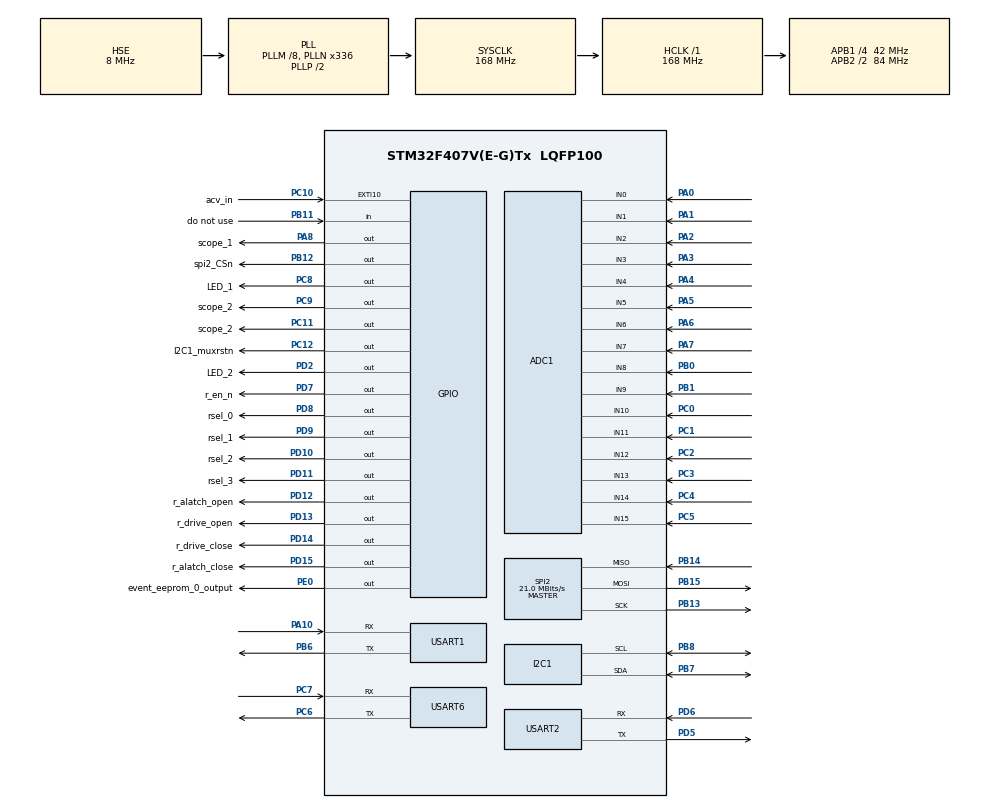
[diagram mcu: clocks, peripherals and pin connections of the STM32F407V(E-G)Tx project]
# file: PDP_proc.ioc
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ADC1.Channel-0\#ChannelRegularConversion=ADC_CHANNEL_0
ADC1.Channel-16\#ChannelRegularConversion=ADC_CHANNEL_0
ADC1.Channel-17\#ChannelRegularConversion=ADC_CHANNEL_0
ADC1.Channel-18\#ChannelRegularConversion=ADC_CHANNEL_0
ADC1.Channel-19\#ChannelRegularConversion=ADC_CHANNEL_0
ADC1.Channel-20\#ChannelRegularConversion=ADC_CHANNEL_0
ADC1.Channel-21\#ChannelRegularConversion=ADC_CHANNEL_0
ADC1.Channel-22\#ChannelRegularConversion=ADC_CHANNEL_0
ADC1.Channel-23\#ChannelRegularConversion=ADC_CHANNEL_0
ADC1.Channel-24\#ChannelRegularConversion=ADC_CHANNEL_0
ADC1.Channel-25\#ChannelRegularConversion=ADC_CHANNEL_0
ADC1.Channel-26\#ChannelRegularConversion=ADC_CHANNEL_0
ADC1.Channel-27\#ChannelRegularConversion=ADC_CHANNEL_0
ADC1.Channel-28\#ChannelRegularConversion=ADC_CHANNEL_0
ADC1.Channel-29\#ChannelRegularConversion=ADC_CHANNEL_0
ADC1.Channel-30\#ChannelRegularConversion=ADC_CHANNEL_0
ADC1.ContinuousConvMode=ENABLE
ADC1.DMAContinuousRequests=ENABLE
ADC1.NbrOfConversion=16
ADC1.NbrOfConversionFlag=1
ADC1.Rank-0\#ChannelRegularConversion=1
ADC1.Rank-16\#ChannelRegularConversion=2
ADC1.Rank-17\#ChannelRegularConversion=3
ADC1.Rank-18\#ChannelRegularConversion=4
ADC1.Rank-19\#ChannelRegularConversion=5
ADC1.Rank-20\#ChannelRegularConversion=6
ADC1.Rank-21\#ChannelRegularConversion=7
ADC1.Rank-22\#ChannelRegularConversion=8
ADC1.Rank-23\#ChannelRegularConversion=9
ADC1.Rank-24\#ChannelRegularConversion=10
ADC1.Rank-25\#ChannelRegularConversion=11
ADC1.Rank-26\#ChannelRegularConversion=12
ADC1.Rank-27\#ChannelRegularConversion=13
ADC1.Rank-28\#ChannelRegularConversion=14
ADC1.Rank-29\#ChannelRegularConversion=15
ADC1.Rank-30\#ChannelRegularConversion=16
ADC1.SamplingTime-0\#ChannelRegularConversion=ADC_SAMPLETIME_15CYCLES
ADC1.SamplingTime-16\#ChannelRegularConversion=ADC_SAMPLETIME_15CYCLES
ADC1.SamplingTime-17\#ChannelRegularConversion=ADC_SAMPLETIME_15CYCLES
ADC1.SamplingTime-18\#ChannelRegularConversion=ADC_SAMPLETIME_15CYCLES
ADC1.SamplingTime-19\#ChannelRegularConversion=ADC_SAMPLETIME_15CYCLES
ADC1.SamplingTime-20\#ChannelRegularConversion=ADC_SAMPLETIME_15CYCLES
ADC1.SamplingTime-21\#ChannelRegularConversion=ADC_SAMPLETIME_15CYCLES
ADC1.SamplingTime-22\#ChannelRegularConversion=ADC_SAMPLETIME_15CYCLES
ADC1.SamplingTime-23\#ChannelRegularConversion=ADC_SAMPLETIME_15CYCLES
ADC1.SamplingTime-24\#ChannelRegularConversion=ADC_SAMPLETIME_15CYCLES
ADC1.SamplingTime-25\#ChannelRegularConversion=ADC_SAMPLETIME_15CYCLES
ADC1.SamplingTime-26\#ChannelRegularConversion=ADC_SAMPLETIME_15CYCLES
ADC1.SamplingTime-27\#ChannelRegularConversion=ADC_SAMPLETIME_15CYCLES
ADC1.SamplingTime-28\#ChannelRegularConversion=ADC_SAMPLETIME_15CYCLES
ADC1.SamplingTime-29\#ChannelRegularConversion=ADC_SAMPLETIME_15CYCLES
ADC1.SamplingTime-30\#ChannelRegularConversion=ADC_SAMPLETIME_15CYCLES
ADC1.ScanConvMode=ENABLE
ADC1.master=1
Dma.ADC1.0.Channel=DMA_CHANNEL_0
Dma.ADC1.0.Direction=DMA_PERIPH_TO_MEMORY
Dma.ADC1.0.FIFOMode=DMA_FIFOMODE_DISABLE
Dma.ADC1.0.FIFOThreshold=DMA_FIFO_THRESHOLD_FULL
Dma.ADC1.0.Instance=DMA2_Stream0
Dma.ADC1.0.MemBurst=DMA_MBURST_SINGLE
Dma.ADC1.0.MemDataAlignment=DMA_MDATAALIGN_HALFWORD
Dma.ADC1.0.MemInc=DMA_MINC_ENABLE
Dma.ADC1.0.Mode=DMA_CIRCULAR
Dma.ADC1.0.PeriphBurst=DMA_PBURST_SINGLE
Dma.ADC1.0.PeriphDataAlignment=DMA_PDATAALIGN_HALFWORD
Dma.ADC1.0.PeriphInc=DMA_PINC_DISABLE
Dma.ADC1.0.Priority=DMA_PRIORITY_LOW
Dma.Request0=ADC1
Mcu.Family=STM32F4
Mcu.Name=STM32F407V(E-G)Tx
Mcu.Package=LQFP100
NVIC.DMA2_Stream0_IRQn=true\:15\:0\:true
NVIC.EXTI15_10_IRQn=true\:1\:0\:true
NVIC.I2C1_ER_IRQn=true\:6\:0\:true
NVIC.I2C1_EV_IRQn=true\:7\:0\:true
NVIC.PriorityGroup=NVIC_PRIORITYGROUP_4
NVIC.TIM1_UP_TIM10_IRQn=true\:14\:0\:true
NVIC.TIM4_IRQn=true\:2\:0\:true
NVIC.USART1_IRQn=true\:5\:0\:true
NVIC.USART2_IRQn=true\:3\:0\:true
NVIC.USART6_IRQn=true\:4\:0\:true
PA0-WKUP.Signal=ADCx_IN0
PA1.Signal=ADCx_IN1
PA10.Mode=Asynchronous
PA10.Signal=USART1_RX
PA13.Mode=JTAG(5-pin)
PA13.Signal=SYS_JTMS-SWDIO
PA14.Mode=JTAG(5-pin)
PA14.Signal=SYS_JTCK-SWCLK
PA15.Mode=JTAG(5-pin)
PA15.Signal=SYS_JTDI
PA2.Signal=ADCx_IN2
PA3.Signal=ADCx_IN3
PA4.Signal=ADCx_IN4
PA5.Signal=ADCx_IN5
PA6.Signal=ADCx_IN6
PA7.Signal=ADCx_IN7
PA8.GPIO_Label=scope_1
PA8.GPIO_ModeDefaultOutputPP=GPIO_MODE_OUTPUT_PP
PA8.GPIO_PuPd=GPIO_NOPULL
PA8.GPIO_Speed=GPIO_SPEED_HIGH
PA8.Signal=GPIO_Output
PB0.Signal=ADCx_IN8
PB1.Signal=ADCx_IN9
PB11.GPIO_Label=do not use
PB11.GPIO_Mode=GPIO_MODE_INPUT
PB11.GPIO_PuPd=GPIO_NOPULL
PB11.Signal=GPIO_Input
PB12.GPIO_Label=spi2_CSn
PB12.GPIO_ModeDefaultOutputPP=GPIO_MODE_OUTPUT_PP
PB12.GPIO_PuPd=GPIO_NOPULL
PB12.GPIO_Speed=GPIO_SPEED_FAST
PB12.Signal=GPIO_Output
PB13.Mode=Full_Duplex_Master
PB13.Signal=SPI2_SCK
PB14.Mode=Full_Duplex_Master
PB14.Signal=SPI2_MISO
PB15.Mode=Full_Duplex_Master
PB15.Signal=SPI2_MOSI
PB3.Mode=JTAG(5-pin)
PB3.Signal=SYS_JTDO-SWO
PB4.Mode=JTAG(5-pin)
PB4.Signal=SYS_JTRST
PB6.Mode=Asynchronous
PB6.Signal=USART1_TX
PB7.Mode=I2C
PB7.Signal=I2C1_SDA
PB8.Mode=I2C
PB8.Signal=I2C1_SCL
PC0.Signal=ADCx_IN10
PC1.Signal=ADCx_IN11
PC10.GPIO_Label=acv_in
PC10.GPIO_ModeDefaultEXTI=GPIO_MODE_IT_RISING
PC10.GPIO_PuPd=GPIO_NOPULL
PC10.Signal=GPXTI10
PC11.GPIO_Label=scope_2
PC11.GPIO_ModeDefaultOutputPP=GPIO_MODE_OUTPUT_PP
PC11.GPIO_PuPd=GPIO_NOPULL
PC11.GPIO_Speed=GPIO_SPEED_HIGH
PC11.Signal=GPIO_Output
PC12.GPIO_Label=I2C1_muxrstn
PC12.GPIO_ModeDefaultOutputPP=GPIO_MODE_OUTPUT_PP
PC12.GPIO_PuPd=GPIO_NOPULL
PC12.GPIO_Speed=GPIO_SPEED_LOW
PC12.Signal=GPIO_Output
PC14-OSC32_IN.Mode=LSE-External-Oscillator
PC14-OSC32_IN.Signal=RCC_OSC32_IN
PC15-OSC32_OUT.Mode=LSE-External-Oscillator
PC15-OSC32_OUT.Signal=RCC_OSC32_OUT
PC2.Signal=ADCx_IN12
PC3.Signal=ADCx_IN13
PC4.Signal=ADCx_IN14
PC5.Signal=ADCx_IN15
PC6.Mode=Asynchronous
PC6.Signal=USART6_TX
PC7.Mode=Asynchronous
PC7.Signal=USART6_RX
PC8.GPIO_Label=LED_1
PC8.GPIO_ModeDefaultOutputPP=GPIO_MODE_OUTPUT_PP
PC8.GPIO_PuPd=GPIO_NOPULL
PC8.GPIO_Speed=GPIO_SPEED_LOW
PC8.Signal=GPIO_Output
PC9.GPIO_Label=scope_2
PC9.GPIO_ModeDefaultOutputPP=GPIO_MODE_OUTPUT_PP
PC9.GPIO_PuPd=GPIO_NOPULL
PC9.GPIO_Speed=GPIO_SPEED_HIGH
PC9.Signal=GPIO_Output
PD10.GPIO_Label=rsel_2
PD10.GPIO_ModeDefaultOutputPP=GPIO_MODE_OUTPUT_PP
PD10.GPIO_PuPd=GPIO_NOPULL
PD10.GPIO_Speed=GPIO_SPEED_LOW
PD10.Signal=GPIO_Output
PD11.GPIO_Label=rsel_3
PD11.GPIO_ModeDefaultOutputPP=GPIO_MODE_OUTPUT_PP
PD11.GPIO_PuPd=GPIO_NOPULL
PD11.GPIO_Speed=GPIO_SPEED_LOW
PD11.Signal=GPIO_Output
PD12.GPIO_Label=r_alatch_open
PD12.GPIO_ModeDefaultOutputPP=GPIO_MODE_OUTPUT_PP
PD12.GPIO_PuPd=GPIO_NOPULL
PD12.GPIO_Speed=GPIO_SPEED_LOW
PD12.Signal=GPIO_Output
PD13.GPIO_Label=r_drive_open
PD13.GPIO_ModeDefaultOutputPP=GPIO_MODE_OUTPUT_PP
PD13.GPIO_PuPd=GPIO_NOPULL
PD13.GPIO_Speed=GPIO_SPEED_LOW
PD13.Signal=GPIO_Output
PD14.GPIO_Label=r_drive_close
PD14.GPIO_ModeDefaultOutputPP=GPIO_MODE_OUTPUT_PP
PD14.GPIO_PuPd=GPIO_NOPULL
PD14.GPIO_Speed=GPIO_SPEED_LOW
PD14.Signal=GPIO_Output
PD15.GPIO_Label=r_alatch_close
PD15.GPIO_ModeDefaultOutputPP=GPIO_MODE_OUTPUT_PP
PD15.GPIO_PuPd=GPIO_NOPULL
PD15.GPIO_Speed=GPIO_SPEED_LOW
PD15.Signal=GPIO_Output
PD2.GPIO_Label=LED_2
PD2.GPIO_ModeDefaultOutputPP=GPIO_MODE_OUTPUT_PP
PD2.GPIO_PuPd=GPIO_NOPULL
PD2.GPIO_Speed=GPIO_SPEED_LOW
PD2.Signal=GPIO_Output
PD5.Mode=Asynchronous
PD5.Signal=USART2_TX
PD6.Mode=Asynchronous
PD6.Signal=USART2_RX
PD7.GPIO_Label=r_en_n
PD7.GPIO_ModeDefaultOutputPP=GPIO_MODE_OUTPUT_PP
PD7.GPIO_PuPd=GPIO_NOPULL
PD7.GPIO_Speed=GPIO_SPEED_LOW
PD7.Signal=GPIO_Output
PD8.GPIO_Label=rsel_0
PD8.GPIO_ModeDefaultOutputPP=GPIO_MODE_OUTPUT_PP
PD8.GPIO_PuPd=GPIO_NOPULL
PD8.GPIO_Speed=GPIO_SPEED_LOW
PD8.Signal=GPIO_Output
PD9.GPIO_Label=rsel_1
PD9.GPIO_ModeDefaultOutputPP=GPIO_MODE_OUTPUT_PP
PD9.GPIO_PuPd=GPIO_NOPULL
PD9.GPIO_Speed=GPIO_SPEED_LOW
PD9.Signal=GPIO_Output
PE0.GPIO_Label=event_eeprom_0_output
PE0.GPIO_ModeDefaultOutputPP=GPIO_MODE_OUTPUT_OD
PE0.GPIO_PuPd=GPIO_NOPULL
PE0.GPIO_Speed=GPIO_SPEED_LOW
PE0.Signal=GPIO_Output
PH0-OSC_IN.GPIO_Label=PH0-OSC_IN
PH0-OSC_IN.Mode=HSE-External-Oscillator
PH0-OSC_IN.Signal=RCC_OSC_IN
PH1-OSC_OUT.GPIO_Label=PH1-OSC_OUT
PH1-OSC_OUT.Mode=HSE-External-Oscillator
PH1-OSC_OUT.Signal=RCC_OSC_OUT
ProjectManager.TargetToolchain=MDK-ARM V4
RCC.48MHZClocksFreq_Value=48000000
RCC.AHBFreq_Value=168000000
RCC.APB1CLKDivider=RCC_HCLK_DIV4
RCC.APB1Freq_Value=42000000
RCC.APB1TimFreq_Value=84000000
RCC.APB2CLKDivider=RCC_HCLK_DIV2
RCC.APB2Freq_Value=84000000
RCC.APB2TimFreq_Value=168000000
RCC.CortexFreq_Value=168000000
RCC.HCLKFreq_Value=168000000
RCC.HSE_VALUE=8000000
RCC.HSI_VALUE=16000000
RCC.PLLM=8
RCC.PLLN=336
RCC.PLLQ=7
RCC.PLLSourceVirtual=RCC_PLLSOURCE_HSE
RCC.SYSCLKFreq_VALUE=168000000
RCC.SYSCLKSource=RCC_SYSCLKSOURCE_PLLCLK
RCC.VCOOutputFreq_Value=336000000
SH.ADCx_IN0.0=ADC1_IN0,IN0
SH.ADCx_IN1.0=ADC1_IN1,IN1
SH.ADCx_IN10.0=ADC1_IN10,IN10
SH.ADCx_IN11.0=ADC1_IN11,IN11
SH.ADCx_IN12.0=ADC1_IN12,IN12
SH.ADCx_IN13.0=ADC1_IN13,IN13
SH.ADCx_IN14.0=ADC1_IN14,IN14
SH.ADCx_IN15.0=ADC1_IN15,IN15
SH.ADCx_IN2.0=ADC1_IN2,IN2
SH.ADCx_IN3.0=ADC1_IN3,IN3
SH.ADCx_IN4.0=ADC1_IN4,IN4
SH.ADCx_IN5.0=ADC1_IN5,IN5
SH.ADCx_IN6.0=ADC1_IN6,IN6
SH.ADCx_IN7.0=ADC1_IN7,IN7
SH.ADCx_IN8.0=ADC1_IN8,IN8
SH.ADCx_IN9.0=ADC1_IN9,IN9
SPI2.CalculateBaudRate=21.0 MBits/s
SPI2.Mode=SPI_MODE_MASTER
TIM1.Period=1000
TIM1.Prescaler=10000
TIM1.TIM_MasterOutputTrigger=TIM_TRGO_ENABLE
TIM2.Period=1000
TIM2.Prescaler=10000
TIM2.TIM_MasterOutputTrigger=TIM_TRGO_ENABLE
TIM3.Period=1000
TIM3.Prescaler=10000
TIM3.TIM_MasterOutputTrigger=TIM_TRGO_ENABLE
TIM4.Period=1000
TIM4.Prescaler=10000
TIM4.TIM_MasterOutputTrigger=TIM_TRGO_ENABLE
VP_TIM1_VS_ClockSourceINT.Mode=Internal
VP_TIM1_VS_OPM.Mode=OPM_bit
VP_TIM2_VS_ClockSourceINT.Mode=Internal
VP_TIM3_VS_ClockSourceINT.Mode=Internal
VP_TIM4_VS_ClockSourceINT.Mode=Internal
VP_TIM4_VS_OPM.Mode=OPM_bit
board=STM32F4DISCOVERY

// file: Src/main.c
/**
  ******************************************************************************
  * File Name          : main.c
  * Description        : Main program body
  ******************************************************************************
  *
  * COPYRIGHT(c) 2015 STMicroelectronics
  *
  * Redistribution and use in source and binary forms, with or without modification,
  * are permitted provided that the following conditions are met:
  *   1. Redistributions of source code must retain the above copyright notice,
  *      this list of conditions and the following disclaimer.
  *   2. Redistributions in binary form must reproduce the above copyright notice,
  *      this list of conditions and the following disclaimer in the documentation
  *      and/or other materials provided with the distribution.
  *   3. Neither the name of STMicroelectronics nor the names of its contributors
  *      may be used to endorse or promote products derived from this software
  *      without specific prior written permission.
  *
  * THIS SOFTWARE IS PROVIDED BY THE COPYRIGHT HOLDERS AND CONTRIBUTORS "AS IS"
  * AND ANY EXPRESS OR IMPLIED WARRANTIES, INCLUDING, BUT NOT LIMITED TO, THE
  * IMPLIED WARRANTIES OF MERCHANTABILITY AND FITNESS FOR A PARTICULAR PURPOSE ARE
  * DISCLAIMED. IN NO EVENT SHALL THE COPYRIGHT HOLDER OR CONTRIBUTORS BE LIABLE
  * FOR ANY DIRECT, INDIRECT, INCIDENTAL, SPECIAL, EXEMPLARY, OR CONSEQUENTIAL
  * DAMAGES (INCLUDING, BUT NOT LIMITED TO, PROCUREMENT OF SUBSTITUTE GOODS OR
  * SERVICES; LOSS OF USE, DATA, OR PROFITS; OR BUSINESS INTERRUPTION) HOWEVER
  * CAUSED AND ON ANY THEORY OF LIABILITY, WHETHER IN CONTRACT, STRICT LIABILITY,
  * OR TORT (INCLUDING NEGLIGENCE OR OTHERWISE) ARISING IN ANY WAY OUT OF THE USE
  * OF THIS SOFTWARE, EVEN IF ADVISED OF THE POSSIBILITY OF SUCH DAMAGE.
  *
  ******************************************************************************
  */
#include "stm32f4xx_hal.h"
#include "adc.h"
#include "dma.h"
#include "i2c.h"
#include "spi.h"
#include "tim.h"
#include "usart.h"
#include "gpio.h"

/* USER CODE BEGIN Includes */

//#include "..\..\uni_host\fc_host_commands.h" // PDP commands, flash addresses

#include "uni_defines.h" // pins, ports, types, structs, commands, memory
#include "uni_uart.h"
#include "uni_adc.h"
#include "uni_relay.h"
#include "uni_voltage.h"
#include "uni_power.h"
#include "uni_eeprom.h"

#include "uni_command.h"
extern IoTcam_Command_Struct ic; // IoTcam Host command
extern IoTcam_Status_Struct is; // IoTcam System status

//#include "..\..\uni_host\uni_host_structs.h" // PDP structs
extern PDP_Command_Struct pc;
extern PDP_Status_Struct ps;
extern PDP_Status_Struct ps_temp;

/* USER CODE END Includes */

/* USER CODE BEGIN PV */
/* Private variables ---------------------------------------------------------*/

/* USER CODE END PV */

void SystemClock_Config(void);

/* USER CODE BEGIN PFP */
/* Private function prototypes -----------------------------------------------*/

/* USER CODE END PFP */

int main(void)
{

  /* USER CODE BEGIN 1 */

	uint8 val8;
	uint32 i;
	uint32 val32;

	//
	// init structs
	//

	//
	// system control struct
	//

	//
	// system status struct
	//
	is.flashSize = *(__IO uint16_t*)STM32REG_FLASHSIZE_ADDR;
	is.UDID1 = *(__IO uint32_t*)STM32REG_UDID1_ADDR;
	is.UDID2 = *(__IO uint32_t*)STM32REG_UDID2_ADDR;
	is.UDID3 = *(__IO uint32_t*)STM32REG_UDID3_ADDR;
	is.flashRDPreg = *(__IO uint16_t*)STM32REG_RDP_ADDR;
	is.flashWRP1reg = *(__IO uint16_t*)STM32REG_WRP1_ADDR;
	is.chip_id = *(__IO uint32_t*)STM32REG_IDCODE_ADDR;

	is.adc_buf_bytes_per_cycle = 0;
	is.adc_channel_bytes_per_cycle = 0;

	//
	// PDP command struct
	//

	//
	// init Command struct
	//

	pc.channel_number = 0;

	for(i = 0;i < PDP_RELAY_CHANNELS;i++){
		pc.trip_level[i] = TRIP_DEFAULT_AMPS;
		pc.ical[i] = ICAL_AMPS_PER_VOLT_DEFAULT;
	}

	pc.vcal = VCAL_VOLTS_PER_VOLT_DEFAULT;
	pc.vphase = VPHASE_DEFAULT;

	//
	// init Status struct
	//

	for(i = 0;i < PDP_RELAY_CHANNELS;i++){
		ps_temp.dc[i] = 0;
		ps_temp.pk[i] = 0;
		ps_temp.rms[i] = 0;
		ps_temp.real[i] = 0;
		ps_temp.apparent[i] = 0;
		ps_temp.power_factor[i] = 0;
    ps_temp.relay_state[i] = 0;	// *** read state from flash or relay auxiliary contacts?
	}

	//
	// PDP status struct
	//

	ps_temp.voltage_cycle_time = 0;
	ps_temp.voltage_cycle_samples = CYCLE_SAMPLES_DEFAULT;

	//
	// init power math
	//
	// init with ADC start instead
	//power_init_math();

  /* USER CODE END 1 */

  /* MCU Configuration----------------------------------------------------------*/

  /* Reset of all peripherals, Initializes the Flash interface and the Systick. */
  HAL_Init();

  /* Configure the system clock */
  SystemClock_Config();

  /* Initialize all configured peripherals */
  MX_GPIO_Init();
  MX_DMA_Init();
  MX_ADC1_Init();
  MX_I2C1_Init();
  MX_SPI2_Init();
  MX_TIM1_Init();
  MX_TIM2_Init();
  MX_TIM3_Init();
  MX_TIM4_Init();
  MX_USART1_UART_Init();
  MX_USART2_UART_Init();
  MX_USART6_UART_Init();

  /* USER CODE BEGIN 2 */
	//--------------------------------------------
	//
	// init
	//

	LED_1_OFF();
	LED_2_OFF();

	// init relay control signals
	relay_init();

	// init uarts
	DEBUG_UART_BAUD(DEBUG_UART_BAUD_RATE); // debug uart
	SC_UART_BAUD(SC_UART_BAUD_RATE); // host uart
	MAINS_UART_BAUD(MAINS_UART_BAUD_RATE); // mains uart

	// init host (Site Controller) command rx
	uni_uart_receive_init(); // start PDP command rx

	//
	// ADC init
	//
	// re-init adc with user values
	uni_adc_init();

	//
	// debug monitor
	//
	log_str("//----------------------");
	log_str("");
	log_str("hello PDP");
	log_str("");

	voltage_timer_init();

	HAL_Delay(100);

	log_int("APB1 timers HAL_RCC_GetPCLK1Freq: ", VOLTAGE_TIMERCLK());
	log_int("ADC clk: ", ADC_CLK());

/*
		while(1){

			val32 = is.adc_samples_per_cycle;
			log_int("  adc samples ", val32);

			val32 = ps.voltage_cycle_time;
			log_int("  voltage timer ", val32);
			val32 = ps.voltage_cycle_samples;
			log_int("  voltage samples ", val32);
			log_str("");
			HAL_Delay(2000);

		}

*/

	//
	// LED test
	//
	/*
	while(1){
		LED_2_ON();
		SCOPE_2_HIGH();
		HAL_Delay(1000);
		LED_2_OFF();
		SCOPE_2_LOW();
		HAL_Delay(1000);
	}
	*/

	//
	// UART tests
	//

	//test_uart(DEBUG_UART);
	// turn off SC_UART callback() vefore SC_UART test
	//test_uart(SC_UART);
	//loopback_uart(SC_UART, DEBUG_UART, MAINS_UART);
	//loopback_uart(SC_UART, MAINS_UART, DEBUG_UART);

	//
	// I2C test
	//
	/*
	log_str("eeprom test");

	val8 = 0x25;
	//eeprom_write(uint8 channel, uint8 addr, uint8* data, uint8 size)
	eeprom_write(0, 0, &val8, 1);
	val8 = 0x62;
	eeprom_write(9, 1, &val8, 1);

	while(1){

		//eeprom_read(uint8 channel, uint8 addr, uint8* data, uint8 size)
		eeprom_read(0, 0, &val8, 1);
		log_hex("  eeprom read 0 ", val8);
		eeprom_read(9, 1, &val8, 1);
		log_hex("  eeprom read 1 ", val8);
		eeprom_read(9, 0, &val8, 1);
		log_hex("  eeprom read 00 ", val8);

		LED_1_TOGGLE();
		HAL_Delay(3000);

	}
	*/

	//
	// relay test
	//
	/*
	pc.channel_number = 1;

	while(1){

		LED_1_TOGGLE();
		uni_relay_on();
		HAL_Delay(2000);

		LED_1_TOGGLE();
		uni_relay_off();
		HAL_Delay(2000);

	}
	*/

	//
	// clock test
	//
	/*
	log_int("HAL_RCC_GetHCLKFreq: ", HAL_RCC_GetHCLKFreq());
	log_int("APB1 timers HAL_RCC_GetPCLK1Freq: ", HAL_RCC_GetPCLK1Freq() * 2);
	log_int("APB2 timers HAL_RCC_GetPCLK2Freq: ", HAL_RCC_GetPCLK2Freq());
	log_str("");
	log_int("Command struct size: ", sizeof(PDP_Command_Struct));
	log_int("Status struct size: ", sizeof(PDP_Status_Struct));
	log_str("");
	*/

	//
	// single adc test
	//
	/*
	uni_adc_init();
	HAL_Delay(1000);
	val32 = uni_adc_singleSample();
	log_int("  single sample  ", val32);
	while(1);
	*/

	// adc start
	power_init_math();
	uni_adc_start();

	// sync to zero crossing

	ic.enable = true;

	//
	// end init
	//
	//--------------------------------------------
  /* USER CODE END 2 */

  /* Infinite loop */
  /* USER CODE BEGIN WHILE */
	//-----------------------------------------------
	//-----------------------------------------------
  while (1)
  {
  /* USER CODE END WHILE */

  /* USER CODE BEGIN 3 */

	if(ic.command){
		uni_command_exec(); // execute host command

	}

	if(ic.enable){
		LED_1_TOGGLE();
	}
	else{
		LED_1_OFF();
	}

	HAL_Delay(100);

	//uni_adc_start(); // do not restart DMA when using circular buffer

  }
	//-----------------------------------------------
	//-----------------------------------------------
  /* USER CODE END 3 */

}

/** System Clock Configuration
*/
void SystemClock_Config(void)
{

  RCC_OscInitTypeDef RCC_OscInitStruct;
  RCC_ClkInitTypeDef RCC_ClkInitStruct;

  __PWR_CLK_ENABLE();

  __HAL_PWR_VOLTAGESCALING_CONFIG(PWR_REGULATOR_VOLTAGE_SCALE1);

  RCC_OscInitStruct.OscillatorType = RCC_OSCILLATORTYPE_HSE;
  RCC_OscInitStruct.HSEState = RCC_HSE_ON;
  RCC_OscInitStruct.PLL.PLLState = RCC_PLL_ON;
  RCC_OscInitStruct.PLL.PLLSource = RCC_PLLSOURCE_HSE;
  RCC_OscInitStruct.PLL.PLLM = 8;
  RCC_OscInitStruct.PLL.PLLN = 336;
  RCC_OscInitStruct.PLL.PLLP = RCC_PLLP_DIV2;
  RCC_OscInitStruct.PLL.PLLQ = 7;
  HAL_RCC_OscConfig(&RCC_OscInitStruct);

  RCC_ClkInitStruct.ClockType = RCC_CLOCKTYPE_SYSCLK|RCC_CLOCKTYPE_PCLK1
                              |RCC_CLOCKTYPE_PCLK2;
  RCC_ClkInitStruct.SYSCLKSource = RCC_SYSCLKSOURCE_PLLCLK;
  RCC_ClkInitStruct.AHBCLKDivider = RCC_SYSCLK_DIV1;
  RCC_ClkInitStruct.APB1CLKDivider = RCC_HCLK_DIV4;
  RCC_ClkInitStruct.APB2CLKDivider = RCC_HCLK_DIV2;
  HAL_RCC_ClockConfig(&RCC_ClkInitStruct, FLASH_LATENCY_5);

  HAL_SYSTICK_Config(HAL_RCC_GetHCLKFreq()/1000);

  HAL_SYSTICK_CLKSourceConfig(SYSTICK_CLKSOURCE_HCLK);

}

/* USER CODE BEGIN 4 */
/*
void SystemClock_Config(void)
{

  RCC_OscInitTypeDef RCC_OscInitStruct;
  RCC_ClkInitTypeDef RCC_ClkInitStruct;

  __PWR_CLK_ENABLE();

  __HAL_PWR_VOLTAGESCALING_CONFIG(PWR_REGULATOR_VOLTAGE_SCALE1);

  RCC_OscInitStruct.OscillatorType = RCC_OSCILLATORTYPE_HSI;
  RCC_OscInitStruct.HSIState = RCC_HSI_ON;
  RCC_OscInitStruct.HSICalibrationValue = 16;
  RCC_OscInitStruct.PLL.PLLState = RCC_PLL_ON;
  RCC_OscInitStruct.PLL.PLLSource = RCC_PLLSOURCE_HSI;
  RCC_OscInitStruct.PLL.PLLM = 16;
  RCC_OscInitStruct.PLL.PLLN = 336;
  RCC_OscInitStruct.PLL.PLLP = RCC_PLLP_DIV2;
  RCC_OscInitStruct.PLL.PLLQ = 7;
  HAL_RCC_OscConfig(&RCC_OscInitStruct);

  RCC_ClkInitStruct.ClockType = RCC_CLOCKTYPE_SYSCLK|RCC_CLOCKTYPE_PCLK1
                              |RCC_CLOCKTYPE_PCLK2;
  RCC_ClkInitStruct.SYSCLKSource = RCC_SYSCLKSOURCE_PLLCLK;
  RCC_ClkInitStruct.AHBCLKDivider = RCC_SYSCLK_DIV1;
  RCC_ClkInitStruct.APB1CLKDivider = RCC_HCLK_DIV4;
  RCC_ClkInitStruct.APB2CLKDivider = RCC_HCLK_DIV2;
  HAL_RCC_ClockConfig(&RCC_ClkInitStruct, FLASH_LATENCY_5);

  HAL_SYSTICK_Config(HAL_RCC_GetHCLKFreq()/1000);

  HAL_SYSTICK_CLKSourceConfig(SYSTICK_CLKSOURCE_HCLK);

}
*/
/*
void SystemClock_Config(void)
{

  RCC_OscInitTypeDef RCC_OscInitStruct;
  RCC_ClkInitTypeDef RCC_ClkInitStruct;

  __PWR_CLK_ENABLE();

  __HAL_PWR_VOLTAGESCALING_CONFIG(PWR_REGULATOR_VOLTAGE_SCALE1);

  RCC_OscInitStruct.OscillatorType = RCC_OSCILLATORTYPE_HSE;
  RCC_OscInitStruct.HSEState = RCC_HSE_ON;
  RCC_OscInitStruct.PLL.PLLState = RCC_PLL_ON;
  RCC_OscInitStruct.PLL.PLLSource = RCC_PLLSOURCE_HSE;
  RCC_OscInitStruct.PLL.PLLM = 8;
  RCC_OscInitStruct.PLL.PLLN = 336;
  RCC_OscInitStruct.PLL.PLLP = RCC_PLLP_DIV2;
  RCC_OscInitStruct.PLL.PLLQ = 7;
  HAL_RCC_OscConfig(&RCC_OscInitStruct);

  RCC_ClkInitStruct.ClockType = RCC_CLOCKTYPE_SYSCLK|RCC_CLOCKTYPE_PCLK1
                              |RCC_CLOCKTYPE_PCLK2;
  RCC_ClkInitStruct.SYSCLKSource = RCC_SYSCLKSOURCE_PLLCLK;
  RCC_ClkInitStruct.AHBCLKDivider = RCC_SYSCLK_DIV1;
  RCC_ClkInitStruct.APB1CLKDivider = RCC_HCLK_DIV4;
  RCC_ClkInitStruct.APB2CLKDivider = RCC_HCLK_DIV2;
  HAL_RCC_ClockConfig(&RCC_ClkInitStruct, FLASH_LATENCY_5);

  HAL_SYSTICK_Config(HAL_RCC_GetHCLKFreq()/1000);

  HAL_SYSTICK_CLKSourceConfig(SYSTICK_CLKSOURCE_HCLK);

}
*/
/* USER CODE END 4 */

/************************ (C) COPYRIGHT STMicroelectronics *****END OF FILE****/
